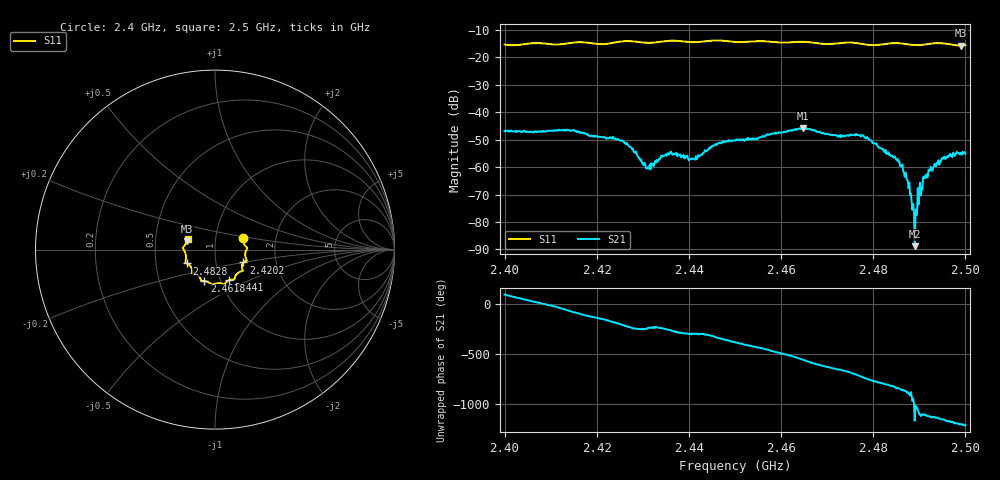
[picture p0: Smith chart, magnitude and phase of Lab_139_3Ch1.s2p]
# Hz S RI R 50
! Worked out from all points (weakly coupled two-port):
!   601 points, 2.4 GHz to 2.5 GHz, reference 50 ohm
!   highest |S21| = -45.84 dB at 2.4647 GHz (marker M1); lowest = -88.8 dB at 2.489 GHz (marker M2)
!   lowest |S11| = -15.8 dB at 2.499 GHz (marker M3), VSWR 1.39, Z = 36.4 + j3.52 ohm
!   |S11| at or under -10 dB: start of sweep to end of sweep
!   S12 and S22 are empty: the file has one direction only
!   S11 on the Smith chart (normalised r, x): 2.4 GHz: 1.36, +0.17; 2.4202 GHz: 1.36, -0.20; 2.441 GHz: 1.10, -0.39; 2.4618 GHz: 0.84, -0.30; 2.4828 GHz: 0.72, -0.11; 2.5 GHz: 0.73, +0.09
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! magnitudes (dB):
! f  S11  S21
! 2.4 GHz  -15.4  -46.9
! 2.4167 GHz  -14.6  -47.4
! 2.4202 GHz  -15.2  -49.0
! 2.426 GHz  -14.2  -51.2
! 2.4312 GHz  -14.8  -60.5
! 2.4333 GHz  -14.5  -57.9
! 2.4358 GHz  -14.0  -55.0
! 2.441 GHz  -14.5  -57.0
! 2.45 GHz  -14.4  -50.4
! 2.4618 GHz  -14.6  -46.7
! 2.4647 GHz  -14.4  -45.8
! 2.4667 GHz  -14.6  -46.5
! 2.4775 GHz  -15.2  -48.4
! 2.4828 GHz  -15.1  -55.2
! 2.4833 GHz  -15.0  -54.6
! 2.4867 GHz  -15.1  -62.0
! 2.489 GHz  -15.6  -88.8
! 2.4905 GHz  -15.6  -67.5
! 2.492 GHz  -15.2  -61.0
! 2.4953 GHz  -15.0  -57.0
! 2.499 GHz  -15.8  -54.8
! 2.5 GHz  -15.7  -55.2
